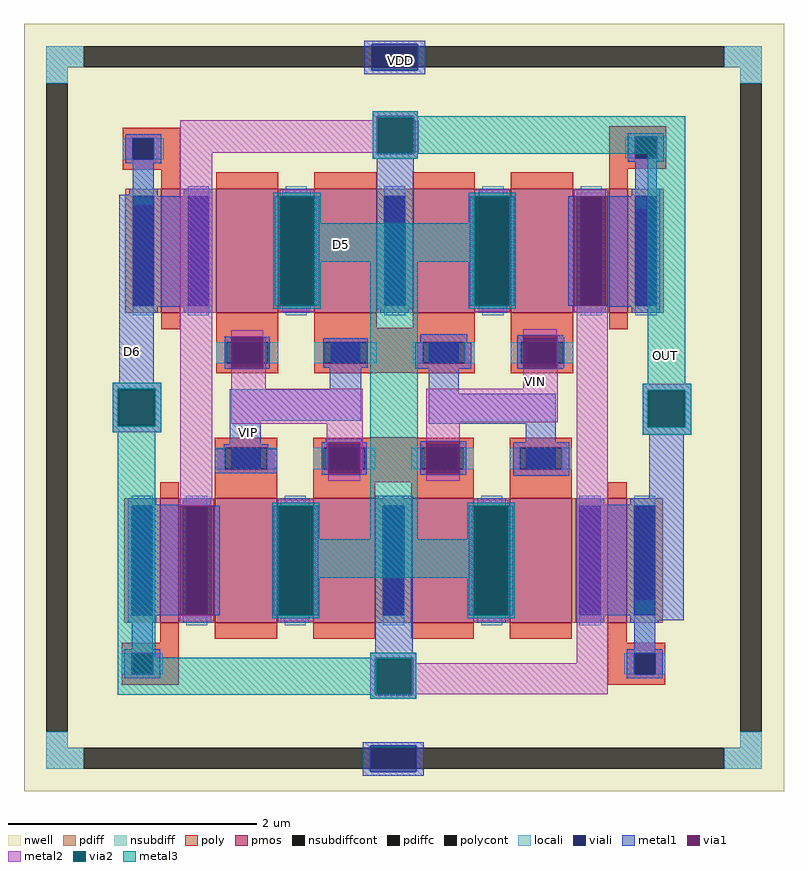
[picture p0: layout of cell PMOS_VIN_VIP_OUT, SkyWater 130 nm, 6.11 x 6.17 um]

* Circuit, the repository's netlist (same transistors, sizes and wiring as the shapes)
** sch_path: /root/latihan/opamp/mag_file/PMOS_VIN_VIP_OUT/PMOS_VIN_VIP_OUT.sch
.subckt PMOS_VIN_VIP_OUT D5 VIP VIN VDD OUT D6
*.PININFO D5:B VDD:B D6:B OUT:B VIP:I VIN:I
XM7 OUT VIP D5 VDD sky130_fd_pr__pfet_01v8 L=0.5 W=1 nf=1 m=4
XM6 D6 VIN D5 VDD sky130_fd_pr__pfet_01v8 L=0.5 W=1 nf=1 m=4
XM1 D6 D6 D6 VDD sky130_fd_pr__pfet_01v8 L=0.15 W=1 nf=1 m=2
XM2 OUT OUT OUT VDD sky130_fd_pr__pfet_01v8 L=0.15 W=1 nf=1 m=2
.ends
.end

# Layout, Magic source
magic
tech sky130A
magscale 1 2
<< nwell >>
rect -171 -1097 1051 137
<< nsubdiff >>
rect -135 67 -75 101
rect 955 67 1015 101
rect -135 41 -101 67
rect 981 41 1015 67
rect -135 -1027 -101 -1001
rect 981 -1027 1015 -1001
rect -135 -1061 -75 -1027
rect 955 -1061 1015 -1027
<< nsubdiffcont >>
rect -75 67 955 101
rect -135 -1001 -101 41
rect 981 -1001 1015 41
rect -75 -1061 955 -1027
<< poly >>
rect -12 -47 80 -30
rect -12 -81 4 -47
rect 38 -81 80 -47
rect -12 -98 80 -81
rect 50 -116 80 -98
rect 770 -45 862 -28
rect 770 -79 812 -45
rect 846 -79 862 -45
rect 770 -96 862 -79
rect 770 -114 800 -96
rect 388 -424 460 -352
rect 386 -600 458 -528
rect 48 -858 78 -840
rect -14 -875 78 -858
rect -14 -909 2 -875
rect 36 -909 78 -875
rect -14 -926 78 -909
rect 768 -858 798 -840
rect 768 -875 860 -858
rect 768 -909 810 -875
rect 844 -909 860 -875
rect 768 -926 860 -909
<< polycont >>
rect 4 -81 38 -47
rect 812 -79 846 -45
rect 2 -909 36 -875
rect 810 -909 844 -875
<< locali >>
rect -135 67 -75 101
rect 955 67 1015 101
rect -135 41 -101 67
rect 981 41 1015 67
rect 4 -47 38 -46
rect -12 -81 4 -47
rect 38 -81 54 -47
rect 796 -79 812 -45
rect 846 -79 862 -45
rect 4 -154 38 -81
rect 812 -160 846 -79
rect 2 -875 36 -798
rect 810 -875 844 -790
rect -14 -909 2 -875
rect 36 -909 52 -875
rect 794 -909 810 -875
rect 844 -909 860 -875
rect 2 -910 36 -909
rect -135 -1027 -101 -1001
rect 981 -1027 1015 -1001
rect -135 -1061 -75 -1027
rect 955 -1061 1015 -1027
<< viali >>
rect 388 101 462 104
rect 388 67 462 101
rect 388 62 462 67
rect 4 -81 38 -47
rect 812 -79 846 -45
rect 2 -909 36 -875
rect 810 -909 844 -875
rect 386 -1027 460 -1024
rect 386 -1061 460 -1027
rect 386 -1066 460 -1061
<< metal1 >>
rect 376 104 474 110
rect 376 62 388 104
rect 462 62 474 104
rect 376 56 474 62
rect 390 -12 462 -4
rect -8 -47 50 -41
rect -8 -81 4 -47
rect 38 -81 50 -47
rect 390 -72 396 -12
rect 456 -18 462 -12
rect 458 -70 462 -18
rect 456 -72 462 -70
rect 390 -80 462 -72
rect 800 -45 858 -39
rect 800 -79 812 -45
rect 846 -79 858 -45
rect -8 -87 50 -81
rect 4 -138 38 -87
rect -18 -140 44 -138
rect -18 -318 128 -140
rect 232 -316 242 -140
rect 294 -316 304 -140
rect -18 -440 38 -318
rect 396 -322 456 -80
rect 800 -85 858 -79
rect 812 -140 846 -85
rect 546 -316 556 -140
rect 608 -316 618 -140
rect 704 -316 714 -140
rect 768 -316 848 -140
rect 724 -318 848 -316
rect 152 -418 162 -366
rect 214 -418 224 -366
rect 310 -416 382 -370
rect 466 -376 542 -362
rect -28 -452 50 -440
rect 321 -451 371 -416
rect 458 -418 548 -376
rect 622 -418 632 -364
rect 686 -368 696 -364
rect 686 -416 698 -368
rect 686 -418 696 -416
rect -28 -508 -18 -452
rect 38 -508 50 -452
rect -28 -520 50 -508
rect 160 -501 371 -451
rect 480 -458 528 -418
rect 824 -454 902 -442
rect 160 -540 210 -501
rect 480 -506 684 -458
rect 314 -536 372 -530
rect 150 -546 222 -540
rect 136 -586 236 -546
rect 308 -588 318 -536
rect 370 -588 380 -536
rect 466 -588 476 -534
rect 530 -588 540 -534
rect 636 -536 684 -506
rect 824 -510 834 -454
rect 890 -510 902 -454
rect 824 -524 902 -510
rect 616 -590 706 -536
rect 0 -638 124 -636
rect 0 -814 80 -638
rect 134 -814 144 -638
rect 230 -814 240 -638
rect 292 -814 302 -638
rect 2 -869 36 -814
rect -10 -875 48 -869
rect 394 -874 454 -622
rect 834 -636 890 -524
rect 544 -814 554 -638
rect 606 -814 616 -638
rect 720 -814 890 -636
rect 810 -822 890 -814
rect 810 -869 844 -822
rect -10 -909 2 -875
rect 36 -909 48 -875
rect -10 -915 48 -909
rect 386 -882 460 -874
rect 386 -942 394 -882
rect 454 -942 460 -882
rect 798 -875 856 -869
rect 798 -909 810 -875
rect 844 -909 856 -875
rect 798 -915 856 -909
rect 386 -948 460 -942
rect 374 -1024 472 -1018
rect 374 -1066 386 -1024
rect 460 -1066 472 -1024
rect 374 -1072 472 -1066
<< via1 >>
rect 396 -18 456 -12
rect 396 -70 458 -18
rect 396 -72 456 -70
rect 242 -316 294 -140
rect 556 -316 608 -140
rect 714 -316 768 -140
rect 162 -418 214 -366
rect 632 -418 686 -364
rect -18 -508 38 -452
rect 318 -588 370 -536
rect 476 -588 530 -534
rect 834 -510 890 -454
rect 80 -814 134 -638
rect 240 -814 292 -638
rect 554 -814 606 -638
rect 394 -942 454 -882
<< metal2 >>
rect 390 -12 462 -4
rect 390 -18 396 -12
rect 80 -70 396 -18
rect 456 -18 462 -12
rect 458 -70 464 -18
rect -28 -450 50 -440
rect -28 -510 -20 -450
rect 40 -510 50 -450
rect -28 -520 50 -510
rect 80 -628 132 -70
rect 390 -72 396 -70
rect 456 -72 462 -70
rect 390 -80 462 -72
rect 240 -140 296 -130
rect 240 -326 296 -316
rect 554 -140 610 -130
rect 554 -326 610 -316
rect 714 -140 768 -130
rect 714 -326 768 -316
rect 162 -366 214 -356
rect 632 -363 686 -354
rect 632 -364 687 -363
rect 214 -418 218 -368
rect 162 -450 218 -418
rect 686 -418 687 -364
rect 632 -450 687 -418
rect 162 -506 374 -450
rect 316 -536 374 -506
rect 316 -580 318 -536
rect 370 -580 374 -536
rect 476 -504 687 -450
rect 476 -534 530 -504
rect 370 -586 372 -580
rect 318 -598 370 -588
rect 476 -598 530 -588
rect 80 -638 134 -628
rect 80 -824 134 -814
rect 238 -638 294 -628
rect 238 -824 294 -814
rect 552 -638 608 -628
rect 552 -824 608 -814
rect 386 -882 460 -874
rect 386 -942 394 -882
rect 454 -891 460 -882
rect 718 -891 768 -326
rect 824 -452 902 -442
rect 824 -512 832 -452
rect 892 -512 902 -452
rect 824 -524 902 -512
rect 454 -941 768 -891
rect 454 -942 460 -941
rect 386 -948 460 -942
<< via2 >>
rect 398 -70 454 -14
rect -20 -452 40 -450
rect -20 -508 -18 -452
rect -18 -508 38 -452
rect 38 -508 40 -452
rect -20 -510 40 -508
rect 240 -316 242 -140
rect 242 -316 294 -140
rect 294 -316 296 -140
rect 554 -316 556 -140
rect 556 -316 608 -140
rect 608 -316 610 -140
rect 238 -814 240 -638
rect 240 -814 292 -638
rect 292 -814 294 -638
rect 552 -814 554 -638
rect 554 -814 606 -638
rect 606 -814 608 -638
rect 396 -940 452 -884
rect 832 -454 892 -452
rect 832 -510 834 -454
rect 834 -510 890 -454
rect 890 -510 892 -454
rect 832 -512 892 -510
<< metal3 >>
rect 390 -12 462 -4
rect 390 -14 892 -12
rect 390 -70 398 -14
rect 454 -70 892 -14
rect 390 -72 892 -70
rect 390 -80 462 -72
rect 230 -140 306 -135
rect 230 -316 240 -140
rect 296 -184 306 -140
rect 544 -140 620 -135
rect 544 -184 554 -140
rect 296 -246 554 -184
rect 296 -316 306 -246
rect 230 -321 306 -316
rect -28 -450 50 -440
rect -28 -510 -20 -450
rect 40 -510 50 -450
rect -28 -520 50 -510
rect -20 -882 40 -520
rect 228 -638 304 -633
rect 228 -814 238 -638
rect 294 -692 304 -638
rect 386 -692 462 -246
rect 544 -316 554 -246
rect 610 -316 620 -140
rect 544 -321 620 -316
rect 832 -442 892 -72
rect 824 -452 902 -442
rect 824 -512 832 -452
rect 892 -512 902 -452
rect 824 -524 902 -512
rect 542 -638 618 -633
rect 542 -692 552 -638
rect 294 -754 552 -692
rect 294 -814 304 -754
rect 228 -819 304 -814
rect 542 -814 552 -754
rect 608 -814 618 -638
rect 542 -819 618 -814
rect 386 -882 460 -874
rect -20 -884 460 -882
rect -20 -940 396 -884
rect 452 -940 460 -884
rect -20 -942 460 -940
rect 386 -948 460 -942
use sky130_fd_pr__pfet_01v8_2XUZHN  sky130_fd_pr__pfet_01v8_2XUZHN_0
transform 1 0 63 0 1 -726
box -109 -162 109 162
use sky130_fd_pr__pfet_01v8_2XUZHN  sky130_fd_pr__pfet_01v8_2XUZHN_1
transform 1 0 65 0 1 -228
box -109 -162 109 162
use sky130_fd_pr__pfet_01v8_2XUZHN  sky130_fd_pr__pfet_01v8_2XUZHN_2
transform 1 0 783 0 1 -726
box -109 -162 109 162
use sky130_fd_pr__pfet_01v8_2XUZHN  sky130_fd_pr__pfet_01v8_2XUZHN_3
transform 1 0 785 0 1 -228
box -109 -162 109 162
use sky130_fd_pr__pfet_01v8_4TGZK8  sky130_fd_pr__pfet_01v8_4TGZK8_0
transform 1 0 660 0 1 -690
box -144 -198 144 164
use sky130_fd_pr__pfet_01v8_4TGZK8  sky130_fd_pr__pfet_01v8_4TGZK8_1
transform 1 0 502 0 1 -690
box -144 -198 144 164
use sky130_fd_pr__pfet_01v8_4TGZK8  sky130_fd_pr__pfet_01v8_4TGZK8_2
transform 1 0 344 0 1 -690
box -144 -198 144 164
use sky130_fd_pr__pfet_01v8_4TGZK8  sky130_fd_pr__pfet_01v8_4TGZK8_3
transform 1 0 186 0 1 -690
box -144 -198 144 164
use sky130_fd_pr__pfet_01v8_7WEZ7N  sky130_fd_pr__pfet_01v8_7WEZ7N_0
transform 1 0 346 0 1 -264
box -144 -164 144 198
use sky130_fd_pr__pfet_01v8_7WEZ7N  sky130_fd_pr__pfet_01v8_7WEZ7N_1
transform 1 0 188 0 1 -264
box -144 -164 144 198
use sky130_fd_pr__pfet_01v8_7WEZ7N  sky130_fd_pr__pfet_01v8_7WEZ7N_2
transform 1 0 662 0 1 -264
box -144 -164 144 198
use sky130_fd_pr__pfet_01v8_7WEZ7N  sky130_fd_pr__pfet_01v8_7WEZ7N_3
transform 1 0 504 0 1 -264
box -144 -164 144 198
<< labels >>
flabel metal1 190 -520 190 -520 0 FreeSans 480 0 0 0 VIP
port 0 nsew
flabel metal2 652 -438 652 -438 0 FreeSans 480 0 0 0 VIN
port 1 nsew
flabel viali 434 78 434 78 0 FreeSans 480 0 0 0 VDD
port 2 nsew
flabel metal1 4 -390 4 -390 0 FreeSans 480 0 0 0 D6
port 3 nsew
flabel metal3 860 -396 860 -396 0 FreeSans 480 0 0 0 OUT
port 4 nsew
flabel metal3 340 -218 340 -218 0 FreeSans 480 0 0 0 D5
port 5 nsew
<< end >>

# cell sky130_fd_pr__pfet_01v8_2XUZHN: kit device sky130_fd_pr__pfet_01v8, w 1 l 0.15 m 1 nf 1 diffcov 100 polycov 100 guard 0 glc 1 grc 1 gtc 1 gbc 1 tbcov 100 rlcov 100 topc 0 botc 0 poverlap 0 doverlap 1 lmin 0.15 wmin 0.42 compatible {sky130_fd_pr__pfet_01v8 sky130_fd_pr__pfet_01v8_lvt sky130_fd_pr__pfet_01v8_hvt sky130_fd_pr__pfet_g5v0d10v5} full_metal 1 viasrc 100 viadrn 100 viagate 100 viagb 0 viagr 0 viagl 0 viagt 0

# cell sky130_fd_pr__pfet_01v8_4TGZK8: kit device sky130_fd_pr__pfet_01v8, w 1 l 0.5 m 1 nf 1 diffcov 100 polycov 100 guard 0 glc 1 grc 1 gtc 1 gbc 1 tbcov 100 rlcov 100 topc 1 botc 0 poverlap 0 doverlap 1 lmin 0.15 wmin 0.42 compatible {sky130_fd_pr__pfet_01v8 sky130_fd_pr__pfet_01v8_lvt sky130_fd_pr__pfet_01v8_hvt sky130_fd_pr__pfet_g5v0d10v5} full_metal 1 viasrc 100 viadrn 100 viagate 70 viagb 0 viagr 0 viagl 0 viagt 0

# cell sky130_fd_pr__pfet_01v8_7WEZ7N: kit device sky130_fd_pr__pfet_01v8, w 1 l 0.5 m 1 nf 1 diffcov 100 polycov 100 guard 0 glc 1 grc 1 gtc 1 gbc 1 tbcov 100 rlcov 100 topc 0 botc 1 poverlap 0 doverlap 1 lmin 0.15 wmin 0.42 compatible {sky130_fd_pr__pfet_01v8 sky130_fd_pr__pfet_01v8_lvt sky130_fd_pr__pfet_01v8_hvt sky130_fd_pr__pfet_g5v0d10v5} full_metal 1 viasrc 100 viadrn 100 viagate 70 viagb 0 viagr 0 viagl 0 viagt 0
